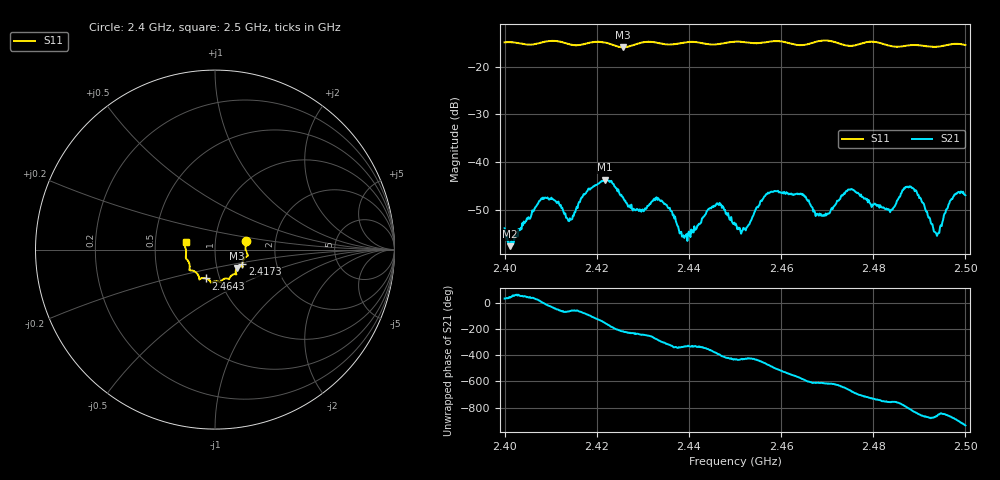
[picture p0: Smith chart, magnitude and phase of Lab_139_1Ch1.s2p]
# Hz S RI R 50
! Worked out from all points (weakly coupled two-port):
!   601 points, 2.4 GHz to 2.5 GHz, reference 50 ohm
!   highest |S21| = -43.68 dB at 2.4218 GHz (marker M1); lowest = -57.6 dB at 2.4012 GHz (marker M2)
!   lowest |S11| = -15.9 dB at 2.4257 GHz (marker M3), VSWR 1.38, Z = 62.5 - j13.1 ohm
!   |S11| at or under -10 dB: start of sweep to end of sweep
!   S12 and S22 are empty: the file has one direction only
!   S11 on the Smith chart (normalised r, x): 2.4 GHz: 1.41, +0.15; 2.4173 GHz: 1.34, -0.23; 2.4643 GHz: 0.86, -0.28; 2.5 GHz: 0.72, +0.06
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2.4e9  0.1731 0.0498  0.00172 0.00106  0 0  0 0
2.401167e9  0.1752 0.0452  0.00102 0.00083  0 0  0 0
2.408e9  0.178 -0.0208  0.00416 0.000394  0 0  0 0
2.414167e9  0.1644 -0.0479  0.00118 -0.00229  0 0  0 0
2.416667e9  0.1529 -0.0746  0.00131 -0.00404  0 0  0 0
2.417333e9  0.1524 -0.0821  0.000815 -0.00451  0 0  0 0
2.421833e9  0.1521 -0.0944  -0.00594 -0.00274  0 0  0 0
2.425667e9  0.1227 -0.1023  -0.00342 0.00262  0 0  0 0
2.433333e9  0.1127 -0.1366  0.00106 0.00406  0 0  0 0
2.439167e9  0.0809 -0.1602  0.00152 0.00072  0 0  0 0
2.446167e9  0.0463 -0.1658  0.00325 -0.00176  0 0  0 0
2.45e9  0.0296 -0.1809  0.00076 -0.00207  0 0  0 0
2.457333e9  -0.0153 -0.1819  -0.00196 -0.00427  0 0  0 0
2.464333e9  -0.0504 -0.1605  -0.00377 0.00276  0 0  0 0
2.466667e9  -0.0763 -0.1598  -0.00124 0.00315  0 0  0 0
2.47e9  -0.0876 -0.1662  -0.00072 0.00279  0 0  0 0
2.475e9  -0.1066 -0.1265  0.00325 0.00398  0 0  0 0
2.483333e9  -0.1408 -0.0895  0.00262 -0.00187  0 0  0 0
2.488333e9  -0.1613 -0.0491  -0.000779 -0.00532  0 0  0 0
2.493833e9  -0.1618 -0.00325  -0.00137 -0.000988  0 0  0 0
2.497167e9  -0.1706 0.0275  -0.00371 -0.00175  0 0  0 0
2.5e9  -0.1635 0.0421  -0.00368 0.00257  0 0  0 0
